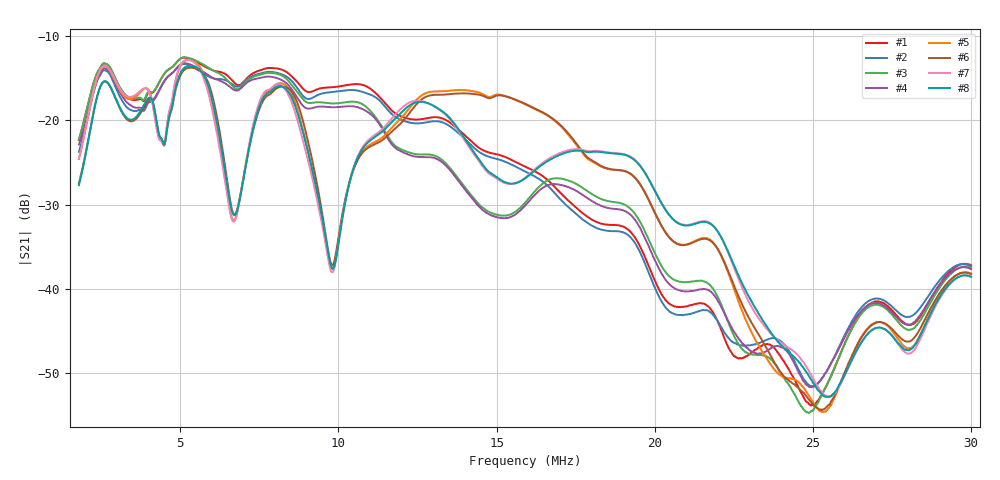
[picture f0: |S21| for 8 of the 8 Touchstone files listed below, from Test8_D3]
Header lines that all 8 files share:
!Agilent Technologies,E5061B,MY49101568,A.02.00
!Data & Calibration Information:
!Freq	S11:SOLT2(OFF)	S21:SOLT2(OFF)	S12:SOLT2(OFF)	S22:SOLT2(OFF)
# Hz S dB R 50
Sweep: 1.8 MHz to 30 MHz
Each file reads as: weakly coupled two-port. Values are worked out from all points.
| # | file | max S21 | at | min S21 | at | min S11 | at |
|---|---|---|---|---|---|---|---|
| 1 | CASE6.S2P | -12.55 dB | 5.123 MHz | -53.9 dB | 24.94 MHz | -37.0 dB | 16.71 MHz |
| 2 | CASE7.S2P | -13.30 dB | 5.123 MHz | -51.6 dB | 24.97 MHz | -36.6 dB | 16.71 MHz |
| 3 | CASE8.S2P | -12.51 dB | 5.123 MHz | -54.7 dB | 24.87 MHz | -39.7 dB | 12.89 MHz |
| 4 | CASE9.S2P | -13.22 dB | 5.123 MHz | -51.7 dB | 24.97 MHz | -38.3 dB | 12.89 MHz |
| 5 | CASE16.S2P | -12.83 dB | 5.27 MHz | -54.6 dB | 25.28 MHz | -46.2 dB | 14.97 MHz |
| 6 | CASE17.S2P | -13.75 dB | 5.343 MHz | -54.4 dB | 25.28 MHz | -46.0 dB | 14.85 MHz |
| 7 | CASE18.S2P | -12.82 dB | 5.221 MHz | -52.8 dB | 25.48 MHz | -28.7 dB | 28.39 MHz |
| 8 | CASE19.S2P | -13.53 dB | 5.319 MHz | -52.8 dB | 25.45 MHz | -28.8 dB | 28.39 MHz |
